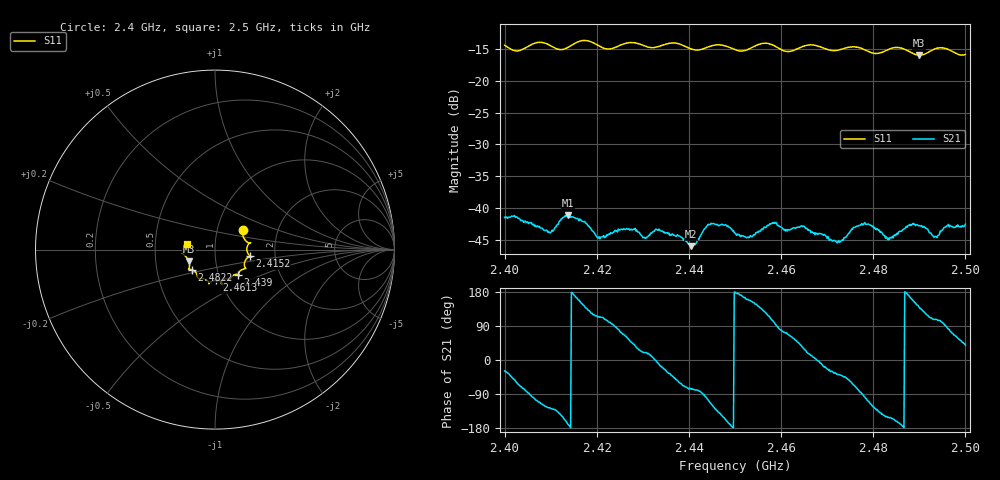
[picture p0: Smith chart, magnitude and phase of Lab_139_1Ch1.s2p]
# Hz S RI R
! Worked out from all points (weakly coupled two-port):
!   601 points, 2.4 GHz to 2.5 GHz, reference 50 ohm
!   highest |S21| = -41.20 dB at 2.4138 GHz (marker M1); lowest = -46.0 dB at 2.4405 GHz (marker M2)
!   lowest |S11| = -15.9 dB at 2.4898 GHz (marker M3), VSWR 1.38, Z = 37 - j5 ohm
!   |S11| at or under -10 dB: start of sweep to end of sweep
!   S12 and S22 are empty: the file has one direction only
!   S11 on the Smith chart (normalised r, x): 2.4 GHz: 1.33, +0.31; 2.4152 GHz: 1.48, -0.11; 2.439 GHz: 1.24, -0.36; 2.4613 GHz: 0.96, -0.34; 2.4822 GHz: 0.76, -0.17; 2.5 GHz: 0.72, +0.05
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2.4e9  0.1563 0.1114  0.00737 -0.00407  0 0  0 0
2.409833e9  0.1886 0.0331  -0.00371 -0.00515  0 0  0 0
2.413833e9  0.1839 -0.0222  -0.0086 -0.0014  0 0  0 0
2.415167e9  0.1944 -0.0363  -0.00823 0.00139  0 0  0 0
2.416667e9  0.2041 -0.042  -0.0069 0.00399  0 0  0 0
2.4205e9  0.1841 -0.0442  -0.00244 0.00539  0 0  0 0
2.433333e9  0.1325 -0.1321  0.00658 -0.000979  0 0  0 0
2.439e9  0.1283 -0.139  0.00206 -0.00536  0 0  0 0
2.4405e9  0.1144 -0.1378  0.0011 -0.00487  0 0  0 0
2.444667e9  0.0845 -0.1687  -0.00297 -0.00677  0 0  0 0
2.45e9  0.0688 -0.1633  -0.00634 7.87e-05  0 0  0 0
2.453333e9  0.0373 -0.1777  -0.00557 0.00237  0 0  0 0
2.4585e9  0.0374 -0.1866  -0.00124 0.00759  0 0  0 0
2.461333e9  0.00776 -0.1712  0.00237 0.00613  0 0  0 0
2.466667e9  -0.0335 -0.1903  0.00634 0.00125  0 0  0 0
2.4725e9  -0.0718 -0.1604  0.00431 -0.00343  0 0  0 0
2.4785e9  -0.0986 -0.1437  -0.00156 -0.00723  0 0  0 0
2.482167e9  -0.1283 -0.1118  -0.00502 -0.0035  0 0  0 0
2.483333e9  -0.1396 -0.1103  -0.00506 -0.00278  0 0  0 0
2.489833e9  -0.1458 -0.0658  -0.00564 0.00452  0 0  0 0
2.4935e9  -0.1784 -0.0253  -0.00176 0.00569  0 0  0 0
2.5e9  -0.1587 0.0335  0.00575 0.00471  0 0  0 0
